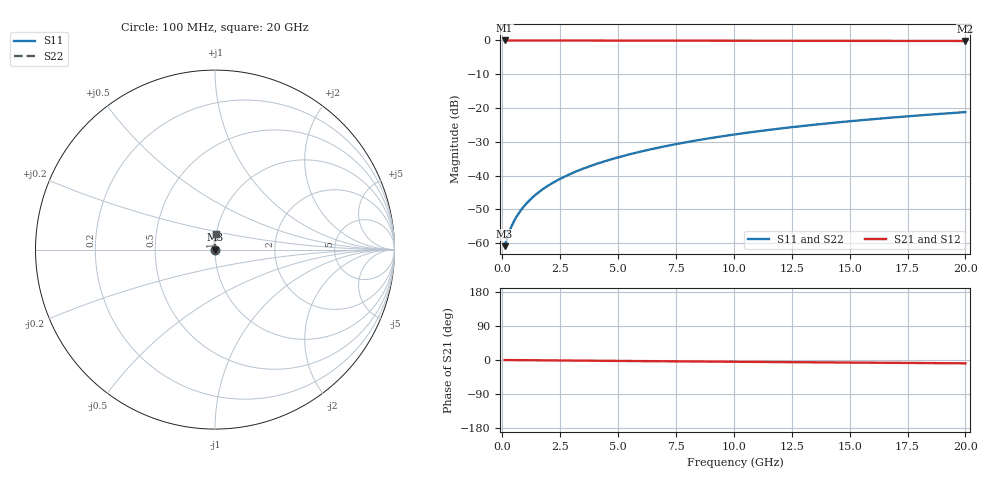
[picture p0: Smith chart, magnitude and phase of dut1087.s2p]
! Touchstone file exported from HFSS 2024.1.0
!  File:  C:/UserFiles/LocalFiles/RDL_TSV_Batchsim/temp_RDL_top_1087_1780045781.aedt
!  Generated:  05:12:05 PM May 29, 2026
!  Design:  RDL_top
!  Project:  temp_RDL_top_1087_1780045781
!  Setup:  Setup1
!  Solution:  Sweep
! Variables:
!  dtsv = 10.80580581um
!  hbump = 3um
!  htsv = 64.15um
!  ldown = 100um
!  lrdl = 113.73um
!  p = 40
!  p1 = 41.23um
!  rhole = 1um
!  t = 450um
!  tdown = 3.915915916um
!  trdl = 3.12um
!  wdown = 15.38538539um
!  wrdl = 24.81um
# GHz S MA R 50.000000
! Terminal data exported
! Port[1] = Box2_T1
! Port[2] = Box2_T2
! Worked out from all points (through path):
!   200 points, 100 MHz to 20 GHz, reference 50 ohm
!   highest |S21| = -0.01 dB at 100 MHz (marker M1); lowest = -0.2 dB at 20 GHz (marker M2)
!   group delay of S21, straight-line fit = 1.2 ps
!   lowest |S11| = -60.9 dB at 100 MHz (marker M3), VSWR 1.00, Z = 50.1 + j0.0413 ohm
!   |S11| at or under -10 dB: start of sweep to end of sweep
!   |S22| runs from -60.9 to -21.2 dB; largest |S21 - S12| = 2.4e-15
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0.1  0.0009009 27.2  0.9992 -0.1  0.9992 -0.1  0.0009009 27.2
! Gamma 0 0 0 0
! Port Impedance 50 0 50 0
0.3  0.001466 53.4  0.9991 -0.2  0.9991 -0.2  0.001466 53.4
0.4  0.00178 59.4  0.9991 -0.2  0.9991 -0.2  0.00178 59.4
0.5  0.002096 63.7  0.999 -0.3  0.999 -0.3  0.002096 63.7
0.6  0.002413 67.0  0.999 -0.3  0.999 -0.3  0.002413 67.0
0.8  0.003058 71.9  0.9989 -0.4  0.9989 -0.4  0.003058 71.9
1  0.003716 75.4  0.9988 -0.5  0.9988 -0.5  0.003716 75.4
1.2  0.004386 78.0  0.9987 -0.6  0.9987 -0.6  0.004386 78.0
1.4  0.005067 80.0  0.9987 -0.7  0.9987 -0.7  0.005067 80.0
1.7  0.006103 82.3  0.9985 -0.9  0.9985 -0.9  0.006103 82.3
2.2  0.00787 85.0  0.9982 -1.1  0.9982 -1.1  0.00787 85.0
2.8  0.01005 87.2  0.9978 -1.4  0.9978 -1.4  0.01005 87.2
3.5  0.01267 89.0  0.9972 -1.7  0.9972 -1.7  0.01267 89.0
4.2  0.01538 90.3  0.9966 -2.1  0.9966 -2.1  0.01538 90.3
5  0.01858 91.3  0.9957 -2.5  0.9957 -2.5  0.01858 91.3
5.9  0.0223 91.9  0.9947 -2.9  0.9947 -2.9  0.0223 91.9
6.8  0.02613 92.3  0.9937 -3.3  0.9937 -3.3  0.02613 92.3
8.4  0.03318 92.4  0.9919 -4.0  0.9919 -4.0  0.03318 92.4
10.1  0.04089 92.0  0.99 -4.7  0.99 -4.7  0.04089 92.0
13.4  0.05617 90.6  0.9867 -6.1  0.9867 -6.1  0.05617 90.6
16.7  0.07157 88.7  0.9838 -7.4  0.9838 -7.4  0.07157 88.7
20  0.0869 86.9  0.9811 -8.8  0.9811 -8.8  0.08689 86.9
